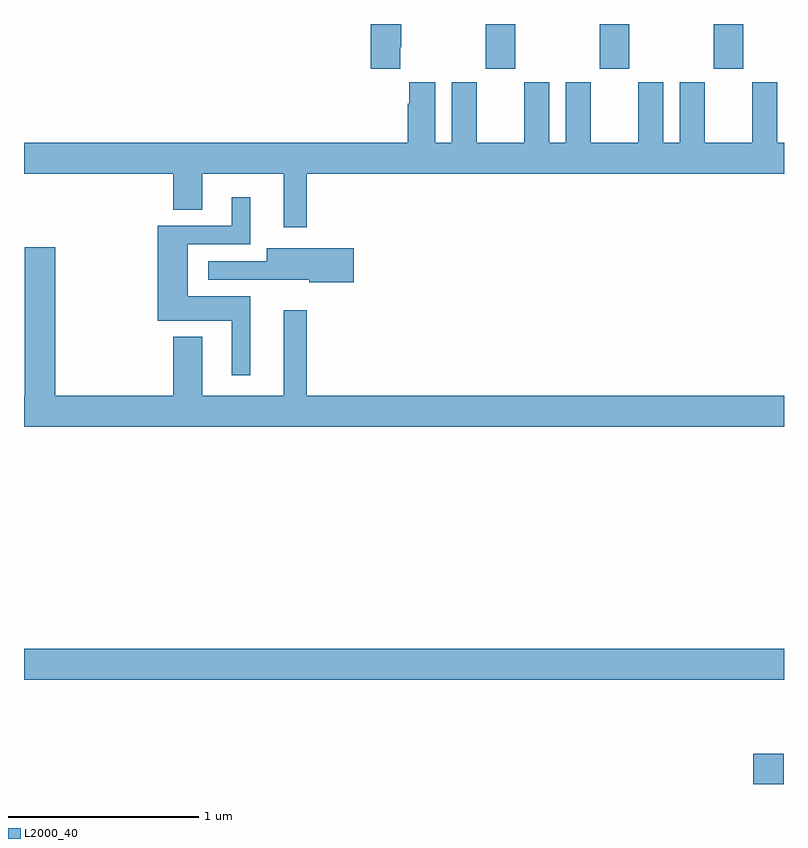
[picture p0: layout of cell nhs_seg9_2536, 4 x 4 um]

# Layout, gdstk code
import gdstk
lib = gdstk.Library(unit=1e-6, precision=1e-09)
def R(c, l, rs):  # rectangles x0, y0, x1, y1
    for r in rs: c.add(gdstk.rectangle(r[:2], r[2:], *l))
def A(c, l, x, y, w, h, nx, ny, dx, dy):  # array of equal rectangles
    R(c, l, [(x+i*dx, y+j*dy, x+i*dx+w, y+j*dy+h) for i in range(nx) for j in range(ny)])
def P(c, l, *ps):  # polygons
    for p in ps: c.add(gdstk.Polygon(p, *l))
L2000_40 = (2000, 40)

nhs_seg9_2536 = lib.new_cell('nhs_seg9_2536')
A(nhs_seg9_2536, L2000_40, 257.431, 1238.265, 0.155, 0.235, 3, 1, 0.6, 0)
R(nhs_seg9_2536, L2000_40, [(258.839,1234.5,258.999,1234.66), (255,1235.048,259,1235.212)])
P(nhs_seg9_2536, L2000_40, [(256.981,1238.377),(256.986,1238.377),(256.986,1238.5),(256.826,1238.5),(256.826,1238.265),(256.981,1238.265)],
  [(259,1237.876),(258.964,1237.876),(258.964,1238.194),(258.833,1238.194),(258.833,1237.876),(258.583,1237.876),(258.583,1238.194),(258.452,1238.194),(258.452,1237.876),(258.364,1237.876),(258.364,1238.194),(258.233,1238.194),(258.233,1237.876),(257.983,1237.876),(257.983,1238.194),(257.852,1238.194),(257.852,1237.876),(257.764,1237.876),(257.764,1238.194),(257.633,1238.194),(257.633,1237.876),(257.383,1237.876),(257.383,1238.194),(257.252,1238.194),(257.252,1237.876),(257.164,1237.876),(257.164,1238.194),(257.027,1238.194),(257.027,1238.081),(257.021,1238.081),(257.021,1237.876),(255,1237.876),(255,1237.712),(255.785,1237.712),(255.785,1237.522),(255.937,1237.522),(255.937,1237.712),(256.367,1237.712),(256.367,1237.431),(256.489,1237.431),(256.489,1237.712),(259,1237.712)],
  [(256.192,1237.066),(255.862,1237.066),(255.862,1237.341),(256.192,1237.341),(256.192,1237.588),(256.094,1237.588),(256.094,1237.437),(255.704,1237.437),(255.704,1236.938),(256.094,1236.938),(256.094,1236.651),(256.192,1236.651)],
  [(259,1236.544),(256.489,1236.544),(256.489,1236.994),(256.367,1236.994),(256.367,1236.544),(255.937,1236.544),(255.937,1236.853),(255.785,1236.853),(255.785,1236.544),(255.164,1236.544),(255.164,1237.324),(255.004,1237.324),(255.004,1236.544),(255,1236.544),(255,1236.38),(259,1236.38)],
  [(256.735,1237.32),(256.277,1237.32),(256.277,1237.251),(255.969,1237.251),(255.969,1237.155),(256.281,1237.155),(256.281,1237.154),(256.5,1237.154),(256.5,1237.142),(256.735,1237.142)])

lib.write_gds('nhs_seg9_2536.gds')
